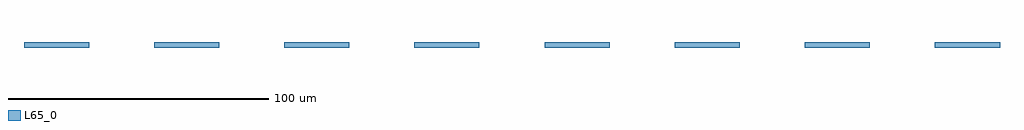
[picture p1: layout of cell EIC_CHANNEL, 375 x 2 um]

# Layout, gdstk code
import gdstk
lib = gdstk.Library(unit=1e-6, precision=1e-09)
def R(c, l, rs):  # rectangles x0, y0, x1, y1
    for r in rs: c.add(gdstk.rectangle(r[:2], r[2:], *l))
def A(c, l, x, y, w, h, nx, ny, dx, dy):  # array of equal rectangles
    R(c, l, [(x+i*dx, y+j*dy, x+i*dx+w, y+j*dy+h) for i in range(nx) for j in range(ny)])
L65_0 = (65, 0)

eic_channel = lib.new_cell('EIC_CHANNEL')
A(eic_channel, L65_0, -146.67, 11.1, 25, 2, 8, 1, 50, 0)

lib.write_gds('EIC_CHANNEL.gds')
